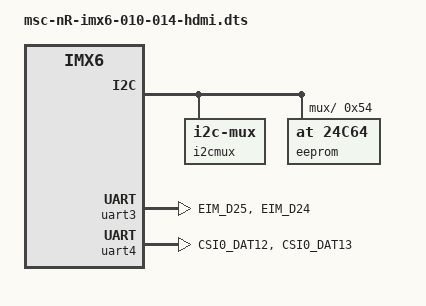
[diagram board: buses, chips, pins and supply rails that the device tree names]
/*
 * Copyright (C) 2014 MSC Technologies, Design Center Aachen
 *
 * This program is free software; you can redistribute it and/or modify
 * it under the terms of the GNU General Public License as published by
 * the Free Software Foundation; either version 2 of the License, or
 * (at your option) any later version.

 * This program is distributed in the hope that it will be useful,
 * but WITHOUT ANY WARRANTY; without even the implied warranty of
 * MERCHANTABILITY or FITNESS FOR A PARTICULAR PURPOSE.  See the
 * GNU General Public License for more details.

 * You should have received a copy of the GNU General Public License along
 * with this program; if not, write to the Free Software Foundation, Inc.,
 * 51 Franklin Street, Fifth Floor, Boston, MA 02110-1301 USA.
 */
/dts-v1/;

#include "msc-nR-imx6-133-014.dtsi"
#include "msc-nR-imx6-mb2-hdmi.dtsi"
#include "msc-nR-imx6-mb2-maxtouch.dtsi"


&iomuxc {
        uart3 {
                pinctrl_uart3_2: uart3grp {
                        fsl,pins = <
                                MX6QDL_PAD_EIM_D25__UART3_RX_DATA    0x1b0b1
                                MX6QDL_PAD_EIM_D24__UART3_TX_DATA    0x1b0b1
                        >;
                };
        };

        uart4 {
                pinctrl_uart4: uart4grp {
                        fsl,pins = <
                                MX6QDL_PAD_CSI0_DAT12__UART4_TX_DATA    0x1b0b1
                                MX6QDL_PAD_CSI0_DAT13__UART4_RX_DATA    0x1b0b1
                        >;
                };
        };
};

&adv7180 {
        status = "disabled";
};

&uart3 {
        pinctrl-0 = <&pinctrl_uart3_2>;
};

&uart4 {
                pinctrl-names = "default";
                pinctrl-0 = <&pinctrl_uart4>;
                status = "okay";
        };

/ {
         soc {
                aips-bus@02100000 { /* AIPS2 */
                        i2cmux {
                                i2c2@0 {
                                        eeprom@54 {
                                           compatible = "at,24c64";
                                           pagesize = <32>;
                                           reg = <0x54>;
                                        };

                                };
                        };
                };
        };

};
